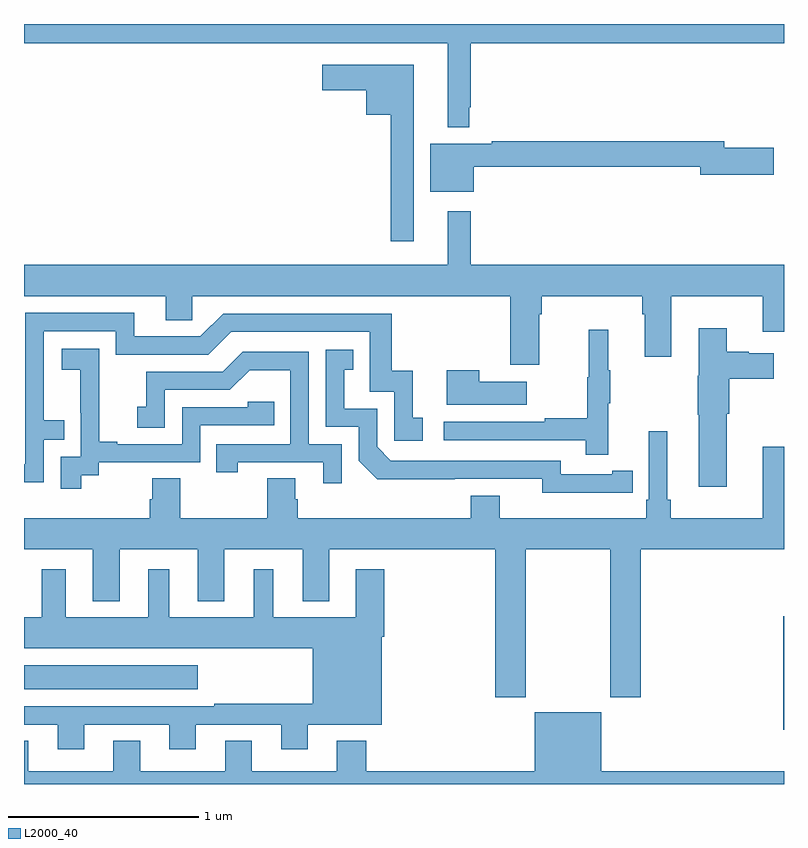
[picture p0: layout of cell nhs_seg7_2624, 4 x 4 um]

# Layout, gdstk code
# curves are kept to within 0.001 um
import gdstk
lib = gdstk.Library(unit=1e-6, precision=1e-09)
def R(c, l, rs):  # rectangles x0, y0, x1, y1
    for r in rs: c.add(gdstk.rectangle(r[:2], r[2:], *l))
def P(c, l, *ps):  # polygons
    for p in ps: c.add(gdstk.Polygon(p, *l))
L2000_40 = (2000, 40)

nhs_seg7_2624 = lib.new_cell('nhs_seg7_2624')
R(nhs_seg7_2624, L2000_40, [(284.995,1046.285,285,1046.882), (281,1046.498,281.914,1046.626)])
P(nhs_seg7_2624, L2000_40, [(283.344,1049.563),(283.351,1049.563),(283.351,1049.9),(285,1049.9),(285,1050),(281,1050),(281,1049.9),(283.229,1049.9),(283.229,1049.456),(283.344,1049.456)],
  [(283.051,1049.785),(282.57,1049.785),(282.57,1049.651),(282.8,1049.651),(282.8,1049.522),(282.93,1049.522),(282.93,1048.857),(283.051,1048.857)],
  [(283.366,1049.248),(284.558,1049.248),(284.558,1049.206),(284.947,1049.206),(284.947,1049.348),(284.686,1049.348),(284.686,1049.384),(283.462,1049.384),(283.462,1049.371),(283.139,1049.371),(283.139,1049.117),(283.366,1049.117)],
  [(283.711,1048.472),(283.724,1048.472),(283.724,1048.568),(284.255,1048.568),(284.255,1048.472),(284.267,1048.472),(284.267,1048.248),(284.407,1048.248),(284.407,1048.568),(284.888,1048.568),(284.888,1048.38),(285,1048.38),(285,1048.732),(283.351,1048.732),(283.351,1049.014),(283.229,1049.014),(283.229,1048.732),(281,1048.732),(281,1048.568),(281.747,1048.568),(281.747,1048.441),(281.886,1048.441),(281.886,1048.568),(283.559,1048.568),(283.559,1048.206),(283.711,1048.206)],
  [(281.103,1047.813),(281.213,1047.813),(281.213,1047.914),(281.103,1047.914),(281.103,1048.383),(281.484,1048.383),(281.484,1048.26),(281.97,1048.26),(282.09,1048.38),(282.819,1048.38),(282.819,1048.065),(282.948,1048.065),(282.948,1047.807),(283.099,1047.807),(283.099,1047.927),(283.046,1047.927),(283.046,1048.174),(282.935,1048.174),(282.935,1048.476),(282.048,1048.476),(281.928,1048.356),(281.581,1048.356),(281.581,1048.479),(281.007,1048.479),(281.007,1047.684),(281,1047.684),(281,1047.588),(281.103,1047.588)],
  [(284.698,1047.949),(284.711,1047.949),(284.711,1048.133),(284.947,1048.133),(284.947,1048.267),(284.814,1048.267),(284.814,1048.275),(284.698,1048.275),(284.698,1048.399),(284.552,1048.399),(284.552,1048.149),(284.545,1048.149),(284.545,1047.943),(284.552,1047.943),(284.552,1047.564),(284.698,1047.564)],
  [(284.075,1048.003),(284.086,1048.003),(284.086,1048.177),(284.075,1048.177),(284.075,1048.39),(283.972,1048.39),(283.972,1048.14),(283.965,1048.14),(283.965,1047.926),(283.741,1047.926),(283.741,1047.906),(283.209,1047.906),(283.209,1047.81),(283.957,1047.81),(283.957,1047.732),(284.075,1047.732)],
  [(281.302,1047.625),(281.394,1047.625),(281.394,1047.693),(281.928,1047.693),(281.928,1047.888),(282.317,1047.888),(282.317,1048.011),(282.177,1048.011),(282.177,1047.984),(281.832,1047.984),(281.832,1047.789),(281.491,1047.789),(281.491,1047.802),(281.396,1047.802),(281.396,1048.085),(281.397,1048.085),(281.397,1048.291),(281.199,1048.291),(281.199,1048.181),(281.297,1048.181),(281.297,1047.953),(281.298,1047.953),(281.298,1047.723),(281.193,1047.723),(281.193,1047.555),(281.302,1047.555)],
  [(284.096,1047.534),(284.204,1047.534),(284.204,1047.65),(284.096,1047.65),(284.096,1047.63),(283.824,1047.63),(283.824,1047.702),(282.93,1047.702),(282.858,1047.774),(282.858,1047.975),(282.685,1047.975),(282.685,1048.179),(282.734,1048.179),(282.734,1048.285),(282.588,1048.285),(282.588,1047.879),(282.762,1047.879),(282.762,1047.702),(282.86,1047.605),(283.728,1047.606),(283.728,1047.533)],
  [(282.672,1047.789),(282.498,1047.789),(282.498,1048.275),(282.152,1048.275),(282.047,1048.17),(281.644,1048.17),(281.644,1047.985),(281.595,1047.985),(281.595,1047.876),(281.742,1047.876),(281.742,1048.074),(282.084,1048.074),(282.188,1048.178),(282.402,1048.178),(282.402,1047.789),(282.013,1047.789),(282.013,1047.642),(282.124,1047.642),(282.124,1047.693),(282.575,1047.693),(282.575,1047.582),(282.672,1047.582)],
  [(283.645,1048.117),(283.397,1048.117),(283.397,1048.177),(283.226,1048.177),(283.226,1047.995),(283.645,1047.995)],
  [(283.641,1047.236),(284.086,1047.236),(284.086,1046.457),(284.246,1046.457),(284.246,1047.236),(285,1047.236),(285,1047.775),(284.888,1047.775),(284.888,1047.4),(284.405,1047.4),(284.405,1047.496),(284.386,1047.496),(284.386,1047.856),(284.289,1047.856),(284.289,1047.496),(284.276,1047.496),(284.276,1047.4),(283.504,1047.4),(283.504,1047.517),(283.352,1047.517),(283.352,1047.4),(282.44,1047.4),(282.44,1047.498),(282.427,1047.498),(282.427,1047.608),(282.28,1047.608),(282.28,1047.4),(281.823,1047.4),(281.823,1047.608),(281.675,1047.608),(281.675,1047.498),(281.663,1047.498),(281.663,1047.4),(281,1047.4),(281,1047.236),(281.363,1047.236),(281.363,1046.963),(281.503,1046.963),(281.503,1047.236),(281.915,1047.236),(281.915,1046.963),(282.055,1046.963),(282.055,1047.236),(282.467,1047.236),(282.467,1046.963),(282.607,1046.963),(282.607,1047.236),(283.481,1047.236),(283.481,1046.457),(283.641,1046.457)],
  [(281.317,1046.313),(281.765,1046.313),(281.765,1046.184),(281.905,1046.184),(281.905,1046.313),(282.353,1046.313),(282.353,1046.184),(282.493,1046.184),(282.493,1046.312),(282.883,1046.312),(282.883,1046.774),(282.896,1046.774),(282.896,1047.13),(282.746,1047.13),(282.746,1046.878),(282.313,1046.878),(282.313,1047.13),(282.209,1047.13),(282.209,1046.878),(281.764,1046.878),(281.764,1047.13),(281.654,1047.13),(281.654,1046.878),(281.221,1046.878),(281.221,1047.13),(281.093,1047.13),(281.093,1046.878),(281,1046.878),(281,1046.714),(282.521,1046.714),(282.521,1046.422),(282.001,1046.422),(282.001,1046.409),(281,1046.409),(281,1046.313),(281.177,1046.313),(281.177,1046.184),(281.317,1046.184)],
  [(285,1046.068),(284.038,1046.068),(284.038,1046.377),(283.688,1046.377),(283.688,1046.068),(282.8,1046.068),(282.8,1046.227),(282.647,1046.227),(282.647,1046.068),(282.199,1046.068),(282.199,1046.228),(282.059,1046.228),(282.059,1046.068),(281.611,1046.068),(281.611,1046.228),(281.471,1046.228),(281.471,1046.068),(281.023,1046.068),(281.023,1046.228),(281,1046.228),(281,1046),(285,1046)])

lib.write_gds('nhs_seg7_2624.gds')
